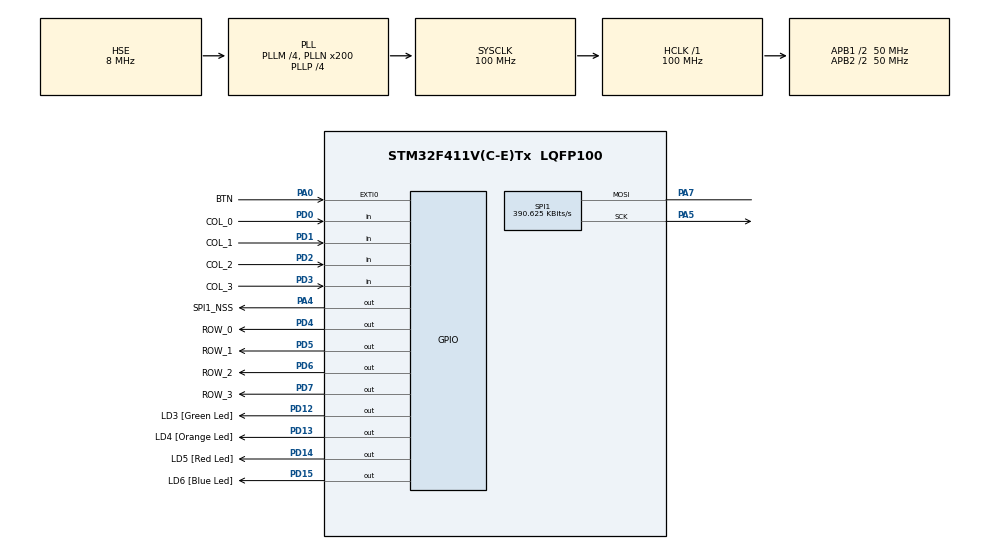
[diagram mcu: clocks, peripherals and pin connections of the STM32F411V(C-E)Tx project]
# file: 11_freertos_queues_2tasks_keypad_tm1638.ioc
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Mcu.Family=STM32F4
Mcu.Name=STM32F411V(C-E)Tx
Mcu.Package=LQFP100
NVIC.EXTI0_IRQn=true\:7\:0\:true\:false\:true\:true\:true
NVIC.PriorityGroup=NVIC_PRIORITYGROUP_4
NVIC.TIM5_IRQn=true\:15\:0\:true\:false\:true\:false\:true
NVIC.TimeBase=TIM5_IRQn
NVIC.TimeBaseIP=TIM5
PA0-WKUP.GPIO_Label=BTN
PA0-WKUP.GPIO_PuPd=GPIO_PULLDOWN
PA0-WKUP.Signal=GPXTI0
PA13.GPIO_Label=SWDIO
PA13.Signal=SYS_JTMS-SWDIO
PA14.GPIO_Label=SWCLK
PA14.Signal=SYS_JTCK-SWCLK
PA4.GPIO_Label=SPI1_NSS
PA4.GPIO_PuPd=GPIO_PULLDOWN
PA4.GPIO_Speed=GPIO_SPEED_FREQ_HIGH
PA4.PinState=GPIO_PIN_SET
PA4.Signal=GPIO_Output
PA5.GPIO_PuPd=GPIO_NOPULL
PA5.Mode=Simplex_Bidirectional_Master
PA5.Signal=SPI1_SCK
PA7.Mode=Simplex_Bidirectional_Master
PA7.Signal=SPI1_MOSI
PB3.GPIO_Label=SWO
PB3.Signal=SYS_JTDO-SWO
PD0.GPIO_Label=COL_0
PD0.GPIO_PuPd=GPIO_PULLDOWN
PD0.Signal=GPIO_Input
PD1.GPIO_Label=COL_1
PD1.GPIO_PuPd=GPIO_PULLDOWN
PD1.Signal=GPIO_Input
PD12.GPIO_Label=LD3 [Green Led]
PD12.GPIO_PuPd=GPIO_NOPULL
PD12.GPIO_Speed=GPIO_SPEED_FREQ_HIGH
PD12.Signal=GPIO_Output
PD13.GPIO_Label=LD4 [Orange Led]
PD13.GPIO_PuPd=GPIO_NOPULL
PD13.GPIO_Speed=GPIO_SPEED_FREQ_HIGH
PD13.Signal=GPIO_Output
PD14.GPIO_Label=LD5 [Red Led]
PD14.GPIO_PuPd=GPIO_NOPULL
PD14.GPIO_Speed=GPIO_SPEED_FREQ_HIGH
PD14.Signal=GPIO_Output
PD15.GPIO_Label=LD6 [Blue Led]
PD15.GPIO_PuPd=GPIO_NOPULL
PD15.GPIO_Speed=GPIO_SPEED_FREQ_HIGH
PD15.Signal=GPIO_Output
PD2.GPIO_Label=COL_2
PD2.GPIO_PuPd=GPIO_PULLDOWN
PD2.Signal=GPIO_Input
PD3.GPIO_Label=COL_3
PD3.GPIO_PuPd=GPIO_PULLDOWN
PD3.Signal=GPIO_Input
PD4.GPIO_Label=ROW_0
PD4.GPIO_PuPd=GPIO_PULLDOWN
PD4.GPIO_Speed=GPIO_SPEED_FREQ_HIGH
PD4.Signal=GPIO_Output
PD5.GPIO_Label=ROW_1
PD5.GPIO_PuPd=GPIO_PULLDOWN
PD5.GPIO_Speed=GPIO_SPEED_FREQ_HIGH
PD5.Signal=GPIO_Output
PD6.GPIO_Label=ROW_2
PD6.GPIO_PuPd=GPIO_PULLDOWN
PD6.GPIO_Speed=GPIO_SPEED_FREQ_HIGH
PD6.Signal=GPIO_Output
PD7.GPIO_Label=ROW_3
PD7.GPIO_PuPd=GPIO_PULLDOWN
PD7.GPIO_Speed=GPIO_SPEED_FREQ_HIGH
PD7.Signal=GPIO_Output
PH0\ -\ OSC_IN.Mode=HSE-External-Oscillator
PH0\ -\ OSC_IN.Signal=RCC_OSC_IN
PH1\ -\ OSC_OUT.Mode=HSE-External-Oscillator
PH1\ -\ OSC_OUT.Signal=RCC_OSC_OUT
ProjectManager.HeapSize=0x200
ProjectManager.StackSize=0x400
ProjectManager.TargetToolchain=STM32CubeIDE
RCC.48MHZClocksFreq_Value=50000000
RCC.AHBFreq_Value=100000000
RCC.APB1CLKDivider=RCC_HCLK_DIV2
RCC.APB1Freq_Value=50000000
RCC.APB1TimFreq_Value=100000000
RCC.APB2CLKDivider=RCC_HCLK_DIV2
RCC.APB2Freq_Value=50000000
RCC.APB2TimFreq_Value=100000000
RCC.CortexFreq_Value=100000000
RCC.HCLKFreq_Value=100000000
RCC.HSE_VALUE=8000000
RCC.HSI_VALUE=16000000
RCC.LSE_VALUE=32768
RCC.PLLI2SM=5
RCC.PLLI2SN=200
RCC.PLLM=4
RCC.PLLN=200
RCC.PLLP=RCC_PLLP_DIV4
RCC.PLLQ=8
RCC.PLLSourceVirtual=RCC_PLLSOURCE_HSE
RCC.SYSCLKFreq_VALUE=100000000
RCC.SYSCLKSource=RCC_SYSCLKSOURCE_PLLCLK
RCC.VCOOutputFreq_Value=400000000
SPI1.BaudRatePrescaler=SPI_BAUDRATEPRESCALER_128
SPI1.CLKPhase=SPI_PHASE_2EDGE
SPI1.CLKPolarity=SPI_POLARITY_HIGH
SPI1.CalculateBaudRate=390.625 KBits/s
SPI1.Direction=SPI_DIRECTION_1LINE
SPI1.FirstBit=SPI_FIRSTBIT_LSB
SPI1.Mode=SPI_MODE_MASTER
SPI1.VirtualType=VM_MASTER
VP_SYS_VS_tim5.Mode=TIM5
board=STM32F411E-DISCO

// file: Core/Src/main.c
/* USER CODE BEGIN Header */
/**
 ******************************************************************************
 * @file           : main.c
 * @brief          : Main program body
 ******************************************************************************
 * @attention
 *
 * Copyright (c) 2023 STMicroelectronics.
 * All rights reserved.
 *
 * This software is licensed under terms that can be found in the LICENSE file
 * in the root directory of this software component.
 * If no LICENSE file comes with this software, it is provided AS-IS.
 *
 ******************************************************************************
 */

/*
 * ----------connect diagram----------------
 *
 *
 * KEYPAD 4X4	 			STM32F411
 * COL_0 (PIN_4)	--> 	PD0
 * COL_1 (PIN_3)	--> 	PD1
 * COL_2 (PIN_2)	--> 	PD2
 * COL_3 (PIN_1)	--> 	PD3
 * ROW_0 (PIN_8)	--> 	PD4
 * ROW_1 (PIN_7)	--> 	PD5
 * ROW_2 (PIN_6)	--> 	PD6
 * ROW_3 (PIN_5)	--> 	PD7
 *
 *
 * */
/* USER CODE END Header */
#include "main.h"

/* USER CODE BEGIN Includes */
#include "FreeRTOS.h"
#include "task.h"
#include <stdio.h>
#include "queue.h"
/* USER CODE END Includes */

SPI_HandleTypeDef hspi1;

/* USER CODE BEGIN PV */
#define DWT_CTRL    (*(volatile uint32_t*)0xE0001000)

TaskHandle_t tm1638;
TaskHandle_t keypad;

QueueHandle_t qdata_key;

struct data {
	uint32_t id;
	uint32_t number;
};

uint8_t address_led[8] = { ADDR_1, ADDR_3, ADDR_5, ADDR_7, ADDR_9, ADDR_11,
ADDR_13, ADDR_15 };
uint8_t address_number[] = { ADDR_0, ADDR_2, ADDR_4, ADDR_6, ADDR_8, ADDR_10,
ADDR_12, ADDR_14 };

uint32_t var_time_down = 0;
uint32_t var_time_up = 0;
uint32_t var_time_right = 0;

uint8_t state0 = 0;

struct queue_user qtime;

/* USER CODE END PV */

void SystemClock_Config(void);
static void MX_GPIO_Init(void);
static void MX_SPI1_Init(void);
/* USER CODE BEGIN PFP */

extern void SEGGER_SYSVIEW_Conf(void);
extern void SEGGER_SYSVIEW_Start(void);

static void handle_tm1638(void *parameters);
void btn_user(void);
static void handle_keypad(void *parameters);

void MODE_A(void);
void MODE_B(void);
void MODE_C(void);

/* USER CODE END PFP */

/* USER CODE BEGIN 0 */
extern void SEGGER_UART_init(uint32_t);

/* USER CODE END 0 */

int main(void) {
	/* USER CODE BEGIN 1 */
//	qtime.pTime = 1;
//	qtime.pAddr = 0;
//	create_addr();
	BaseType_t status;
	/* USER CODE END 1 */

	/* MCU Configuration--------------------------------------------------------*/

	/* Reset of all peripherals, Initializes the Flash interface and the Systick. */
	HAL_Init();

	/* Configure the system clock */
	SystemClock_Config();

	/* Initialize all configured peripherals */
	MX_GPIO_Init();
	MX_SPI1_Init();
	/* USER CODE BEGIN 2 */
	tm1638_init();

	//Enable the CYCCNT counter.
	DWT_CTRL |= (1 << 0);

	SEGGER_SYSVIEW_Conf();
	SEGGER_SYSVIEW_Start();

	SEGGER_UART_init(500000);

	status = xTaskCreate(handle_tm1638, "tm1638", 5000, "this is task tm1638",
			2, &tm1638);
	configASSERT(status == pdPASS);

	status = xTaskCreate(handle_keypad, "keypad_task", 500,
			"this is task keypad", 3, &keypad);
	configASSERT(status == pdPASS);

	qdata_key = xQueueCreate(1, sizeof(char));
	if (qdata_key == NULL) {
		/* Queue was not created and must not be used. */
	}

	vTaskStartScheduler();
	/* USER CODE END 2 */

	/* Infinite loop */
	while (1) {

	}
}

void SystemClock_Config(void) {
	RCC_OscInitTypeDef RCC_OscInitStruct = { 0 };
	RCC_ClkInitTypeDef RCC_ClkInitStruct = { 0 };

	/** Configure the main internal regulator output voltage
	 */
	__HAL_RCC_PWR_CLK_ENABLE();
	__HAL_PWR_VOLTAGESCALING_CONFIG(PWR_REGULATOR_VOLTAGE_SCALE1);
	/** Initializes the RCC Oscillators according to the specified parameters
	 * in the RCC_OscInitTypeDef structure.
	 */
	RCC_OscInitStruct.OscillatorType = RCC_OSCILLATORTYPE_HSE;
	RCC_OscInitStruct.HSEState = RCC_HSE_ON;
	RCC_OscInitStruct.PLL.PLLState = RCC_PLL_ON;
	RCC_OscInitStruct.PLL.PLLSource = RCC_PLLSOURCE_HSE;
	RCC_OscInitStruct.PLL.PLLM = 4;
	RCC_OscInitStruct.PLL.PLLN = 200;
	RCC_OscInitStruct.PLL.PLLP = RCC_PLLP_DIV4;
	RCC_OscInitStruct.PLL.PLLQ = 8;
	if (HAL_RCC_OscConfig(&RCC_OscInitStruct) != HAL_OK) {
		Error_Handler();
	}
	/** Initializes the CPU, AHB and APB buses clocks
	 */
	RCC_ClkInitStruct.ClockType = RCC_CLOCKTYPE_HCLK | RCC_CLOCKTYPE_SYSCLK
			| RCC_CLOCKTYPE_PCLK1 | RCC_CLOCKTYPE_PCLK2;
	RCC_ClkInitStruct.SYSCLKSource = RCC_SYSCLKSOURCE_PLLCLK;
	RCC_ClkInitStruct.AHBCLKDivider = RCC_SYSCLK_DIV1;
	RCC_ClkInitStruct.APB1CLKDivider = RCC_HCLK_DIV2;
	RCC_ClkInitStruct.APB2CLKDivider = RCC_HCLK_DIV2;

	if (HAL_RCC_ClockConfig(&RCC_ClkInitStruct, FLASH_LATENCY_3) != HAL_OK) {
		Error_Handler();
	}
}

static void MX_SPI1_Init(void) {

	/* SPI1 parameter configuration*/
	hspi1.Instance = SPI1;
	hspi1.Init.Mode = SPI_MODE_MASTER;
	hspi1.Init.Direction = SPI_DIRECTION_1LINE;
	hspi1.Init.DataSize = SPI_DATASIZE_8BIT;
	hspi1.Init.CLKPolarity = SPI_POLARITY_HIGH;
	hspi1.Init.CLKPhase = SPI_PHASE_2EDGE;
	hspi1.Init.NSS = SPI_NSS_SOFT;
	hspi1.Init.BaudRatePrescaler = SPI_BAUDRATEPRESCALER_128;
	hspi1.Init.FirstBit = SPI_FIRSTBIT_LSB;
	hspi1.Init.TIMode = SPI_TIMODE_DISABLE;
	hspi1.Init.CRCCalculation = SPI_CRCCALCULATION_DISABLE;
	hspi1.Init.CRCPolynomial = 10;
	if (HAL_SPI_Init(&hspi1) != HAL_OK) {
		Error_Handler();
	}

}

static void MX_GPIO_Init(void) {
	GPIO_InitTypeDef GPIO_InitStruct = { 0 };

	/* GPIO Ports Clock Enable */
	__HAL_RCC_GPIOH_CLK_ENABLE();
	__HAL_RCC_GPIOA_CLK_ENABLE();
	__HAL_RCC_GPIOD_CLK_ENABLE();
	__HAL_RCC_GPIOB_CLK_ENABLE();

	/*Configure GPIO pin Output Level */
	HAL_GPIO_WritePin(SPI1_NSS_GPIO_Port, SPI1_NSS_Pin, GPIO_PIN_SET);

	/*Configure GPIO pin Output Level */
	HAL_GPIO_WritePin(GPIOD,
			LD3_Pin | LD4_Pin | LD5_Pin | LD6_Pin | ROW_0_Pin | ROW_1_Pin
					| ROW_2_Pin | ROW_3_Pin, GPIO_PIN_RESET);

	/*Configure GPIO pin : BTN_Pin */
	GPIO_InitStruct.Pin = BTN_Pin;
	GPIO_InitStruct.Mode = GPIO_MODE_IT_RISING;
	GPIO_InitStruct.Pull = GPIO_PULLDOWN;
	HAL_GPIO_Init(BTN_GPIO_Port, &GPIO_InitStruct);

	/*Configure GPIO pin : SPI1_NSS_Pin */
	GPIO_InitStruct.Pin = SPI1_NSS_Pin;
	GPIO_InitStruct.Mode = GPIO_MODE_OUTPUT_PP;
	GPIO_InitStruct.Pull = GPIO_PULLDOWN;
	GPIO_InitStruct.Speed = GPIO_SPEED_FREQ_HIGH;
	HAL_GPIO_Init(SPI1_NSS_GPIO_Port, &GPIO_InitStruct);

	/*Configure GPIO pins : LD3_Pin LD4_Pin LD5_Pin LD6_Pin */
	GPIO_InitStruct.Pin = LD3_Pin | LD4_Pin | LD5_Pin | LD6_Pin;
	GPIO_InitStruct.Mode = GPIO_MODE_OUTPUT_PP;
	GPIO_InitStruct.Pull = GPIO_NOPULL;
	GPIO_InitStruct.Speed = GPIO_SPEED_FREQ_HIGH;
	HAL_GPIO_Init(GPIOD, &GPIO_InitStruct);

	/*Configure GPIO pins : COL_0_Pin COL_1_Pin COL_2_Pin COL_3_Pin */
	GPIO_InitStruct.Pin = COL_0_Pin | COL_1_Pin | COL_2_Pin | COL_3_Pin;
	GPIO_InitStruct.Mode = GPIO_MODE_INPUT;
	GPIO_InitStruct.Pull = GPIO_PULLDOWN;
	HAL_GPIO_Init(GPIOD, &GPIO_InitStruct);

	/*Configure GPIO pins : ROW_0_Pin ROW_1_Pin ROW_2_Pin ROW_3_Pin */
	GPIO_InitStruct.Pin = ROW_0_Pin | ROW_1_Pin | ROW_2_Pin | ROW_3_Pin;
	GPIO_InitStruct.Mode = GPIO_MODE_OUTPUT_PP;
	GPIO_InitStruct.Pull = GPIO_PULLDOWN;
	GPIO_InitStruct.Speed = GPIO_SPEED_FREQ_HIGH;
	HAL_GPIO_Init(GPIOD, &GPIO_InitStruct);

	/* EXTI interrupt init*/
	HAL_NVIC_SetPriority(EXTI0_IRQn, 7, 0);
	HAL_NVIC_EnableIRQ(EXTI0_IRQn);

}

/* USER CODE BEGIN 4 */
void handle_tm1638(void *parameters) {
	char data_receive;
	char data_temp;
	char msg[100];
	while (1) {
		snprintf(msg, 100, "%s\n", (char*) parameters);
		SEGGER_SYSVIEW_PrintfTarget(msg);
		if (qdata_key != NULL) {
			if (xQueueReceive(qdata_key, &data_receive,
					(TickType_t) 100) == pdPASS) {

				if (data_receive == 'A' || data_receive == 'B') {
					data_temp = data_receive;
					data_receive = 'x';
					tm1638_reset();
					if (data_temp == 'A') {
						state0 = 0;
						var_time_down = 0;
						tm1638_toggle_led(address_led[0]);
						var_time_down = keypad_enter();

					} else if (data_temp == 'B') {
						var_time_up = 0;
						tm1638_toggle_led(address_led[1]);
						var_time_up = keypad_enter();

					}

				}
			}
		}

		if (data_temp == 'A') {
			tm1638_cnt_down_non_bl(var_time_down);
			if (var_time_down > 0)
				var_time_down--;
			else {
				data_temp = 'x';
			}
		} else if (data_temp == 'B') {
			tm1638_cnt_up_non_bl(var_time_up);
			if (var_time_up < 100000000)
				var_time_up++;
			else
				data_temp = 'x';
		}
	}
}
void handle_keypad(void *parameters) {
	char data_trans;
	while (1) {
		data_trans = keypad_read();
		if (data_trans == 'C') {
			vTaskSuspend(tm1638);
		} else if (data_trans == 'D') {
			vTaskResume(tm1638);
		}
		if (data_trans != 'x') {
			xQueueSend(qdata_key, (void* )&data_trans, portMAX_DELAY);

		}
		vTaskDelay(pdMS_TO_TICKS(50));
	}
}

/* USER CODE END 4 */

void HAL_TIM_PeriodElapsedCallback(TIM_HandleTypeDef *htim) {
	if (htim->Instance == TIM5) {
		HAL_IncTick();
	}
}

void Error_Handler(void) {
	__disable_irq();
	while (1) {
	}
}
